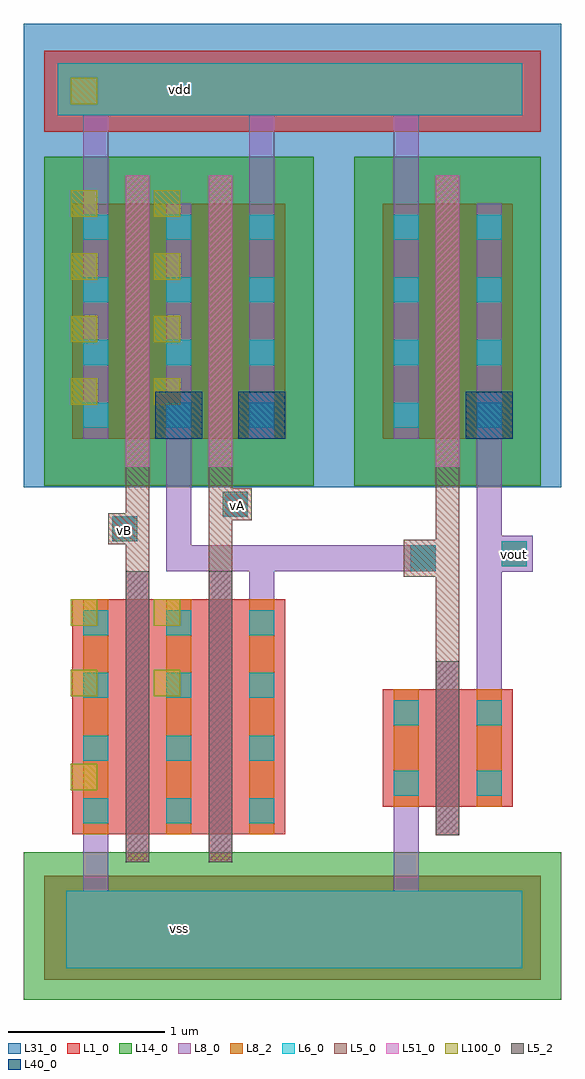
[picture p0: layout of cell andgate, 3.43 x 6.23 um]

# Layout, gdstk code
import gdstk
lib = gdstk.Library(unit=1e-6, precision=5e-09)
def R(c, l, rs):  # rectangles x0, y0, x1, y1
    for r in rs: c.add(gdstk.rectangle(r[:2], r[2:], *l))
def A(c, l, x, y, w, h, nx, ny, dx, dy):  # array of equal rectangles
    R(c, l, [(x+i*dx, y+j*dy, x+i*dx+w, y+j*dy+h) for i in range(nx) for j in range(ny)])
def P(c, l, *ps):  # polygons
    for p in ps: c.add(gdstk.Polygon(p, *l))
L1_0 = (1, 0)
L5_0 = (5, 0)
L5_2 = (5, 2)
L6_0 = (6, 0)
L8_0 = (8, 0)
L8_2 = (8, 2)
L14_0 = (14, 0)
L31_0 = (31, 0)
L40_0 = (40, 0)
L51_0 = (51, 0)
L100_0 = (100, 0)

nmos_1 = lib.new_cell('nmos$1')
R(nmos_1, L1_0, [(0,0,0.3,0.3), (0,0,0.83,0.75), (0.53,0,0.83,0.3)])
R(nmos_1, L5_0, [(0.34,-0.18,0.49,0.93)])
R(nmos_1, L5_2, [(0.34,-0.18,0.49,0.93)])
R(nmos_1, L6_0, [(0.07,0.07,0.23,0.23), (0.6,0.07,0.76,0.23), (0.07,0.52,0.23,0.68), (0.6,0.52,0.76,0.68)])
R(nmos_1, L8_0, [(0.07,0,0.23,0.75), (0.6,0,0.76,0.75)])
R(nmos_1, L8_2, [(0.07,0,0.23,0.75), (0.6,0,0.76,0.75)])
R(nmos_1, L51_0, [(0.34,-0.18,0.49,0.93)])
nmos_1.add(gdstk.Label('nmos', (0.415,0.375), layer=63, texttype=0))
nmos_1.add(gdstk.Label('nmos', (0.415,0.375), layer=51, texttype=0))

pmos_1 = lib.new_cell('pmos$1')
R(pmos_1, L1_0, [(0,0,0.3,0.3), (0,0,0.83,1.5), (0.53,0,0.83,0.3)])
R(pmos_1, L5_0, [(0.34,-0.18,0.49,1.68), (0.34,-0.18,0.49,1.68)])
A(pmos_1, L6_0, 0.07, 0.07, 0.16, 0.16, 1, 4, 0, 0.4)
A(pmos_1, L6_0, 0.6, 0.07, 0.16, 0.16, 1, 4, 0, 0.4)
R(pmos_1, L8_0, [(0.07,0,0.23,1.5), (0.07,0,0.23,1.5), (0.6,0,0.76,1.5), (0.6,0,0.76,1.5)])
R(pmos_1, L14_0, [(-0.18,-0.3,1.01,1.8)])
R(pmos_1, L31_0, [(-0.31,-0.31,1.14,1.81)])
R(pmos_1, L40_0, [(0.53,0,0.83,0.3)])
R(pmos_1, L51_0, [(0.34,-0.18,0.49,1.68)])
pmos_1.add(gdstk.Label('pmos', (0.415,0.75), layer=63, texttype=0))
pmos_1.add(gdstk.Label('pmos', (0.415,0.75), layer=51, texttype=0))

nmos = lib.new_cell('nmos')
R(nmos, L1_0, [(0,0,0.3,0.3), (0,0,0.83,1.5), (0.53,0,0.83,0.3)])
R(nmos, L5_0, [(0.34,-0.18,0.49,1.68)])
R(nmos, L5_2, [(0.34,-0.18,0.49,1.68)])
A(nmos, L6_0, 0.07, 0.07, 0.16, 0.16, 1, 4, 0, 0.4)
A(nmos, L6_0, 0.6, 0.07, 0.16, 0.16, 1, 4, 0, 0.4)
R(nmos, L8_0, [(0.07,0,0.23,1.5), (0.6,0,0.76,1.5)])
R(nmos, L8_2, [(0.07,0,0.23,1.5), (0.6,0,0.76,1.5)])
R(nmos, L51_0, [(0.34,-0.18,0.49,1.68)])
nmos.add(gdstk.Label('nmos', (0.415,0.75), layer=63, texttype=0))
nmos.add(gdstk.Label('nmos', (0.415,0.75), layer=51, texttype=0))

pmos = lib.new_cell('pmos')
R(pmos, L1_0, [(0,0,0.3,0.3), (0,0,0.83,1.5), (0.53,0,0.83,0.3)])
R(pmos, L5_0, [(0.34,-0.18,0.49,1.68), (0.34,-0.18,0.49,1.68)])
A(pmos, L6_0, 0.07, 0.07, 0.16, 0.16, 1, 4, 0, 0.4)
A(pmos, L6_0, 0.6, 0.07, 0.16, 0.16, 1, 4, 0, 0.4)
R(pmos, L8_0, [(0.07,0,0.23,1.5), (0.07,0,0.23,1.5), (0.6,0,0.76,1.5), (0.6,0,0.76,1.5)])
R(pmos, L14_0, [(-0.18,-0.3,1.01,1.8)])
R(pmos, L31_0, [(-0.31,-0.31,1.14,1.81)])
R(pmos, L40_0, [(0.53,0,0.83,0.3)])
R(pmos, L51_0, [(0.34,-0.18,0.49,1.68)])
pmos.add(gdstk.Label('pmos', (0.415,0.75), layer=63, texttype=0))
pmos.add(gdstk.Label('pmos', (0.415,0.75), layer=51, texttype=0))

andgate = lib.new_cell('andgate')
R(andgate, L1_0, [(-0.55,-2.75,2.62,-2.085), (-0.55,2.665,2.62,3.18)])
P(andgate, L5_0, [(1.95,-0.715),(1.95,-0.175),(1.745,-0.175),(1.745,0.06),(1.95,0.06),(1.95,0.545),(2.1,0.545),(2.1,-0.715)],
  [(0.5,-0.14),(0.5,0.525),(0.65,0.525),(0.65,0.39),(0.775,0.39),(0.775,0.185),(0.65,0.185),(0.65,-0.14)],
  [(-0.03,-0.145),(-0.03,0.03),(-0.14,0.03),(-0.14,0.23),(-0.03,0.23),(-0.03,0.525),(0.12,0.525),(0.12,-0.145)])
R(andgate, L6_0, [(-0.41,-2.675,2.5,-2.18), (1.79,-0.14,1.95,0.025), (2.37,-0.11,2.53,0.05), (-0.115,0.05,0.045,0.21), (0.59,0.205,0.75,0.365), (-0.465,2.77,2.5,3.1)])
R(andgate, L8_0, [(-0.115,0.05,0.045,0.21), (0.59,0.205,0.75,0.365)])
P(andgate, L8_0, [(-0.3,2.205),(-0.3,2.77),(-0.465,2.77),(-0.465,3.1),(2.5,3.1),(2.5,2.77),(1.84,2.77),(1.84,2.205),(1.68,2.205),(1.68,2.77),(0.92,2.77),(0.92,2.205),(0.76,2.205),(0.76,2.77),(-0.14,2.77),(-0.14,2.205)],
  [(2.21,-0.895),(2.21,0.725),(2.37,0.725),(2.37,0.085),(2.57,0.085),(2.57,-0.145),(2.37,-0.145),(2.37,-0.895)],
  [(-0.41,-2.675),(-0.41,-2.18),(-0.3,-2.18),(-0.3,-1.82),(-0.14,-1.82),(-0.14,-2.18),(1.68,-2.18),(1.68,-1.645),(1.84,-1.645),(1.84,-2.18),(2.5,-2.18),(2.5,-2.675)],
  [(0.76,-0.32),(0.76,-0.14),(0.23,-0.14),(0.23,0.705),(0.39,0.705),(0.39,0.025),(1.95,0.025),(1.95,-0.14),(0.92,-0.14),(0.92,-0.32)])
R(andgate, L8_2, [(-0.41,-2.675,2.5,-2.18), (2.37,-0.11,2.53,0.05), (-0.115,0.05,0.045,0.21), (0.59,0.205,0.75,0.365), (-0.465,2.77,2.5,3.1)])
R(andgate, L14_0, [(-0.68,-2.875,2.75,-1.935)])
R(andgate, L31_0, [(-0.68,2.515,2.75,3.355)])
R(andgate, L100_0, [(-0.38,-1.54,-0.21,-1.37), (-0.38,-1.54,-0.21,-1.37), (-0.38,-0.94,-0.21,-0.77), (-0.38,-0.94,-0.21,-0.77), (0.15,-0.94,0.32,-0.77), (0.15,-0.94,0.32,-0.77), (-0.38,-0.49,-0.21,-0.32), (-0.38,-0.49,-0.21,-0.32), (0.15,-0.49,0.32,-0.32), (0.15,-0.49,0.32,-0.32), (-0.38,0.92,-0.21,1.09), (-0.38,0.92,-0.21,1.09), (0.15,0.92,0.32,1.09), (0.15,0.92,0.32,1.09), (-0.38,1.32,-0.21,1.49), (-0.38,1.32,-0.21,1.49), (0.15,1.32,0.32,1.49), (0.15,1.32,0.32,1.49), (-0.38,1.72,-0.21,1.89), (-0.38,1.72,-0.21,1.89), (0.15,1.72,0.32,1.89), (0.15,1.72,0.32,1.89), (-0.38,2.12,-0.21,2.29), (-0.38,2.12,-0.21,2.29), (0.15,2.12,0.32,2.29), (0.15,2.12,0.32,2.29), (-0.38,2.84,-0.21,3.01), (-0.38,2.84,-0.21,3.01)])
andgate.add(gdstk.Reference(nmos_1, (1.61,-1.645)))
andgate.add(gdstk.Reference(pmos_1, (1.61,0.705)))
andgate.add(gdstk.Reference(nmos, (-0.37,-1.82)))
andgate.add(gdstk.Reference(pmos, (-0.37,0.705)))
andgate.add(gdstk.Reference(pmos, (0.16,0.705)))
andgate.add(gdstk.Reference(nmos, (0.16,-1.82)))
andgate.add(gdstk.Label('vout', (2.455,-0.035), layer=8, texttype=2))
andgate.add(gdstk.Label('vB', (-0.04,0.12), layer=8, texttype=2))
andgate.add(gdstk.Label('vA', (0.685,0.28), layer=8, texttype=2))
andgate.add(gdstk.Label('vdd', (0.32,2.935), layer=8, texttype=2))
andgate.add(gdstk.Label('vss', (0.315,-2.42), layer=8, texttype=2))

lib.write_gds('andgate.gds')
